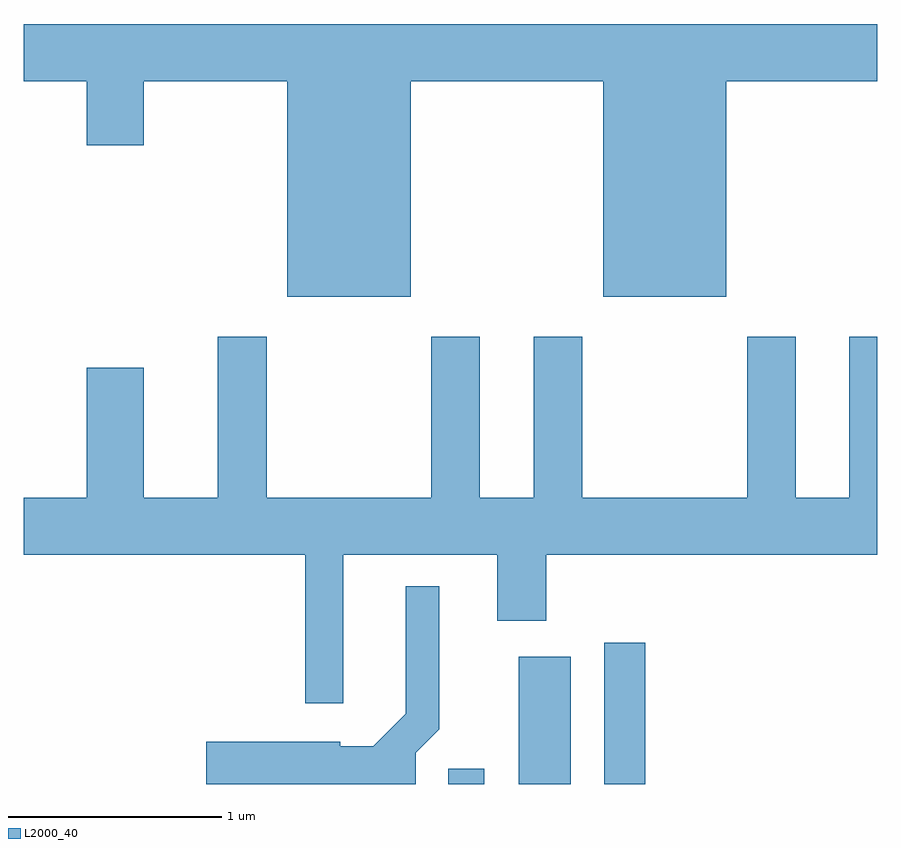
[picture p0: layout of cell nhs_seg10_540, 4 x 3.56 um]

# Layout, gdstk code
import gdstk
lib = gdstk.Library(unit=1e-6, precision=1e-09)
def R(c, l, rs):  # rectangles x0, y0, x1, y1
    for r in rs: c.add(gdstk.rectangle(r[:2], r[2:], *l))
def P(c, l, *ps):  # polygons
    for p in ps: c.add(gdstk.Polygon(p, *l))
L2000_40 = (2000, 40)

nhs_seg10_540 = lib.new_cell('nhs_seg10_540')
R(nhs_seg10_540, L2000_40, [(201.601,2210.522,201.769,2210.593), (201.931,2210.522,202.174,2211.119), (202.331,2210.522,202.524,2211.184)])
P(nhs_seg10_540, L2000_40, [(201.424,2213.816),(202.326,2213.816),(202.326,2212.806),(202.904,2212.806),(202.904,2213.816),(203.611,2213.816),(203.611,2214.084),(199.611,2214.084),(199.611,2213.816),(199.906,2213.816),(199.906,2213.516),(200.174,2213.516),(200.174,2213.816),(200.846,2213.816),(200.846,2212.806),(201.424,2212.806)],
  [(201.109,2211.596),(201.831,2211.596),(201.831,2211.286),(202.059,2211.286),(202.059,2211.596),(203.611,2211.596),(203.611,2212.619),(203.481,2212.619),(203.481,2211.864),(203.229,2211.864),(203.229,2212.619),(203.001,2212.619),(203.001,2211.864),(202.229,2211.864),(202.229,2212.619),(202.001,2212.619),(202.001,2211.864),(201.749,2211.864),(201.749,2212.619),(201.521,2212.619),(201.521,2211.864),(200.749,2211.864),(200.749,2212.619),(200.521,2212.619),(200.521,2211.864),(200.174,2211.864),(200.174,2212.474),(199.906,2212.474),(199.906,2211.864),(199.611,2211.864),(199.611,2211.596),(200.931,2211.596),(200.931,2210.901),(201.109,2210.901)],
  [(201.449,2210.669),(201.559,2210.779),(201.559,2211.448),(201.401,2211.448),(201.401,2210.852),(201.249,2210.699),(201.094,2210.699),(201.094,2210.719),(200.466,2210.719),(200.466,2210.522),(201.449,2210.522)])

lib.write_gds('nhs_seg10_540.gds')
